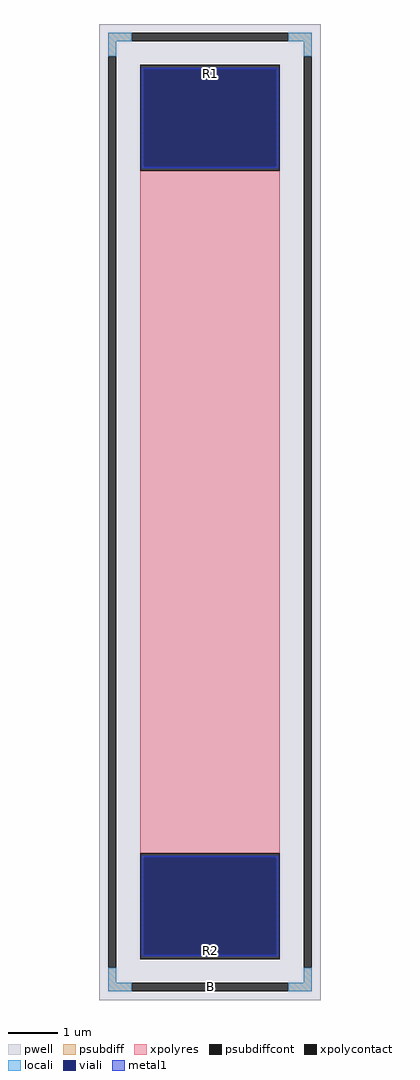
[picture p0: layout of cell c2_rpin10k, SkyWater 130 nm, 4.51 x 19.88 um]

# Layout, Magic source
magic
tech sky130A
magscale 1 2
<< pwell >>
rect -451 -1988 451 1988
<< psubdiff >>
rect -415 1918 -319 1952
rect 319 1918 415 1952
rect -415 1856 -381 1918
rect 381 1856 415 1918
rect -415 -1918 -381 -1856
rect 381 -1918 415 -1856
rect -415 -1952 -319 -1918
rect 319 -1952 415 -1918
<< psubdiffcont >>
rect -319 1918 319 1952
rect -415 -1856 -381 1856
rect 381 -1856 415 1856
rect -319 -1952 319 -1918
<< xpolycontact >>
rect -285 1390 285 1822
rect -285 -1822 285 -1390
<< xpolyres >>
rect -285 -1390 285 1390
<< locali >>
rect -415 1918 -319 1952
rect 319 1918 415 1952
rect -415 1856 -381 1918
rect 381 1856 415 1918
rect -415 -1918 -381 -1856
rect 381 -1918 415 -1856
rect -415 -1952 -319 -1918
rect 319 -1952 415 -1918
<< viali >>
rect -269 1407 269 1804
rect -269 -1804 269 -1407
<< metal1 >>
rect -281 1804 281 1810
rect -281 1407 -269 1804
rect 269 1407 281 1804
rect -281 1401 281 1407
rect -281 -1407 281 -1401
rect -281 -1804 -269 -1407
rect 269 -1804 281 -1407
rect -281 -1810 281 -1804
<< labels >>
rlabel psubdiffcont 0 -1935 0 -1935 0 B
port 1 nsew
rlabel xpolycontact 0 1787 0 1787 0 R1
port 2 nsew
rlabel xpolycontact 0 -1787 0 -1787 0 R2
port 3 nsew
<< properties >>
string FIXED_BBOX -398 -1935 398 1935
string gencell sky130_fd_pr__res_xhigh_po_2p85
string library sky130
string parameters w 2.85 l 14.06 m 1 nx 1 wmin 2.850 lmin 0.50 class resistor rho 2000 val 9.998k dummy 0 dw 0.0 term 188.2 sterm 0.0 caplen 0 wmax 2.850 guard 1 glc 1 grc 1 gtc 1 gbc 1 compatible {sky130_fd_pr__res_xhigh_po_0p35  sky130_fd_pr__res_xhigh_po_0p69 sky130_fd_pr__res_xhigh_po_1p41  sky130_fd_pr__res_xhigh_po_2p85 sky130_fd_pr__res_xhigh_po_5p73} snake 0 full_metal 1 n_guard 0 hv_guard 0 vias 1 viagb 0 viagt 0 viagl 0 viagr 0 doports 1
<< end >>
